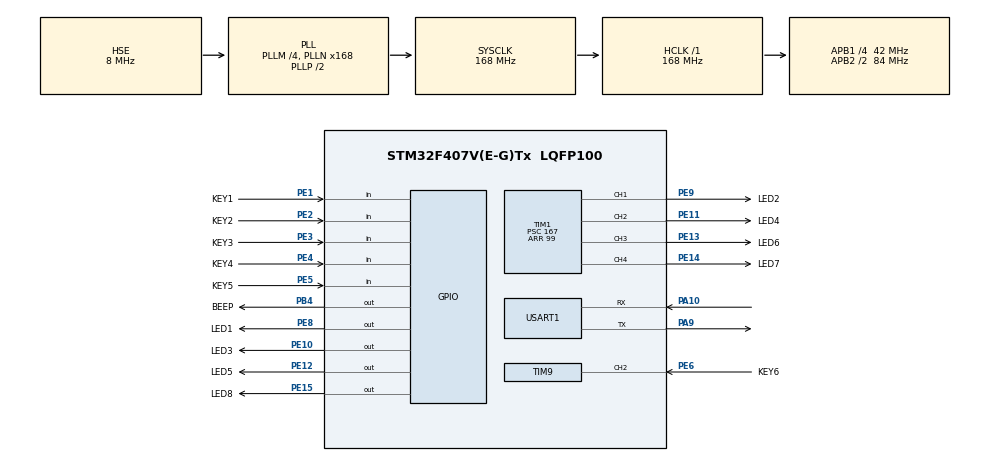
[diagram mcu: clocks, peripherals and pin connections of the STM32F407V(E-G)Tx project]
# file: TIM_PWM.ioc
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FREERTOS.HEAP_NUMBER=3
FREERTOS.Tasks01=LedTask,24,256,StartLedTask,Default,NULL,Dynamic,NULL,NULL;KeyTask,24,256,StartKeyTask,Default,NULL,Dynamic,NULL,NULL;BeepTask,24,256,StartBeepTask,Default,NULL,Dynamic,NULL,NULL;CaptureTask,24,256,StartCaptureTask,Default,NULL,Dynamic,NULL,NULL
FREERTOS.configENABLE_FPU=0
FREERTOS.configUSE_NEWLIB_REENTRANT=0
FREERTOS.copyHeapFile=1
Mcu.Family=STM32F4
Mcu.Name=STM32F407V(E-G)Tx
Mcu.Package=LQFP100
NVIC.PriorityGroup=NVIC_PRIORITYGROUP_4
NVIC.TIM1_BRK_TIM9_IRQn=true\:5\:0\:false\:false\:true\:true\:true\:true
NVIC.TIM2_IRQn=true\:5\:0\:false\:false\:true\:true\:true\:true
NVIC.TIM3_IRQn=true\:5\:0\:false\:false\:true\:true\:true\:true
NVIC.TIM4_IRQn=true\:5\:0\:false\:false\:true\:true\:true\:true
NVIC.TIM8_TRG_COM_TIM14_IRQn=true\:0\:0\:false\:false\:true\:false\:false\:true
NVIC.TimeBase=TIM8_TRG_COM_TIM14_IRQn
NVIC.TimeBaseIP=TIM14
PA10.Mode=Asynchronous
PA10.Signal=USART1_RX
PA13.Mode=Serial_Wire
PA13.Signal=SYS_JTMS-SWDIO
PA14.Mode=Serial_Wire
PA14.Signal=SYS_JTCK-SWCLK
PA9.Mode=Asynchronous
PA9.Signal=USART1_TX
PB4.GPIO_Label=BEEP
PB4.Signal=GPIO_Output
PE1.GPIO_Label=KEY1
PE1.GPIO_PuPd=GPIO_PULLUP
PE1.Signal=GPIO_Input
PE10.GPIO_Label=LED3
PE10.PinState=GPIO_PIN_SET
PE10.Signal=GPIO_Output
PE11.GPIO_Label=LED4
PE11.Signal=S_TIM1_CH2
PE12.GPIO_Label=LED5
PE12.PinState=GPIO_PIN_SET
PE12.Signal=GPIO_Output
PE13.GPIO_Label=LED6
PE13.Signal=S_TIM1_CH3
PE14.GPIO_Label=LED7
PE14.Signal=S_TIM1_CH4
PE15.GPIO_Label=LED8
PE15.PinState=GPIO_PIN_SET
PE15.Signal=GPIO_Output
PE2.GPIO_Label=KEY2
PE2.GPIO_PuPd=GPIO_PULLUP
PE2.Signal=GPIO_Input
PE3.GPIO_Label=KEY3
PE3.GPIO_PuPd=GPIO_PULLUP
PE3.Signal=GPIO_Input
PE4.GPIO_Label=KEY4
PE4.GPIO_PuPd=GPIO_PULLUP
PE4.Signal=GPIO_Input
PE5.GPIO_Label=KEY5
PE5.GPIO_PuPd=GPIO_PULLDOWN
PE5.Signal=GPIO_Input
PE6.GPIO_Label=KEY6
PE6.GPIO_PuPd=GPIO_PULLDOWN
PE6.Signal=S_TIM9_CH2
PE8.GPIO_Label=LED1
PE8.PinState=GPIO_PIN_SET
PE8.Signal=GPIO_Output
PE9.GPIO_Label=LED2
PE9.Signal=S_TIM1_CH1
PH0-OSC_IN.Mode=HSE-External-Oscillator
PH0-OSC_IN.Signal=RCC_OSC_IN
PH1-OSC_OUT.Mode=HSE-External-Oscillator
PH1-OSC_OUT.Signal=RCC_OSC_OUT
ProjectManager.HeapSize=0x200
ProjectManager.StackSize=0x400
ProjectManager.TargetToolchain=SW4STM32
RCC.48MHZClocksFreq_Value=84000000
RCC.AHBFreq_Value=168000000
RCC.APB1CLKDivider=RCC_HCLK_DIV4
RCC.APB1Freq_Value=42000000
RCC.APB1TimFreq_Value=84000000
RCC.APB2CLKDivider=RCC_HCLK_DIV2
RCC.APB2Freq_Value=84000000
RCC.APB2TimFreq_Value=168000000
RCC.CortexFreq_Value=168000000
RCC.HCLKFreq_Value=168000000
RCC.HSE_VALUE=8000000
RCC.HSI_VALUE=16000000
RCC.LSE_VALUE=32768
RCC.PLLM=4
RCC.PLLN=168
RCC.PLLSourceVirtual=RCC_PLLSOURCE_HSE
RCC.SYSCLKFreq_VALUE=168000000
RCC.SYSCLKSource=RCC_SYSCLKSOURCE_PLLCLK
RCC.VCOOutputFreq_Value=336000000
SH.S_TIM1_CH1.0=TIM1_CH1,PWM Generation1 CH1
SH.S_TIM1_CH2.0=TIM1_CH2,PWM Generation2 CH2
SH.S_TIM1_CH3.0=TIM1_CH3,PWM Generation3 CH3
SH.S_TIM1_CH4.0=TIM1_CH4,PWM Generation4 CH4
SH.S_TIM9_CH2.0=TIM9_CH2,Input_Capture2_from_TI2
TIM1.Channel-PWM\ Generation1\ CH1=TIM_CHANNEL_1
TIM1.Channel-PWM\ Generation2\ CH2=TIM_CHANNEL_2
TIM1.Channel-PWM\ Generation3\ CH3=TIM_CHANNEL_3
TIM1.Channel-PWM\ Generation4\ CH4=TIM_CHANNEL_4
TIM1.OCIdleState_1=TIM_OCIDLESTATE_SET
TIM1.OCIdleState_2=TIM_OCIDLESTATE_SET
TIM1.OCIdleState_3=TIM_OCIDLESTATE_SET
TIM1.OCIdleState_4=TIM_OCIDLESTATE_SET
TIM1.OCPolarity_1=TIM_OCPOLARITY_LOW
TIM1.OCPolarity_2=TIM_OCPOLARITY_LOW
TIM1.OCPolarity_3=TIM_OCPOLARITY_LOW
TIM1.OCPolarity_4=TIM_OCPOLARITY_LOW
TIM1.Period=99
TIM1.Prescaler=167
TIM2.Period=9999
TIM2.Prescaler=8399
TIM3.Period=1
TIM3.Prescaler=41
TIM4.Period=99
TIM4.Prescaler=83
TIM9.Channel-Input_Capture2_from_TI2=TIM_CHANNEL_2
TIM9.ICFilter_CH2=8
TIM9.Prescaler=16799
USART1.VirtualMode=VM_ASYNC
VP_FREERTOS_VS_CMSIS_V2.Mode=CMSIS_V2
VP_SYS_VS_tim14.Mode=TIM14
VP_TIM1_VS_ClockSourceINT.Mode=Internal
VP_TIM2_VS_ClockSourceINT.Mode=Internal
VP_TIM3_VS_ClockSourceINT.Mode=Internal
VP_TIM4_VS_ClockSourceINT.Mode=Internal
VP_TIM9_VS_ClockSourceINT.Mode=Internal
board=custom

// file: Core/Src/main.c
/* USER CODE BEGIN Header */
/**
  ******************************************************************************
  * @file           : main.c
  * @brief          : Main program body
  ******************************************************************************
  * @attention
  *
  * <h2><center>&copy; Copyright (c) 2020 STMicroelectronics.
  * All rights reserved.</center></h2>
  *
  * This software component is licensed by ST under Ultimate Liberty license
  * SLA0044, the "License"; You may not use this file except in compliance with
  * the License. You may obtain a copy of the License at:
  *                             www.st.com/SLA0044
  *
  ******************************************************************************
  */
/* USER CODE END Header */
#include "main.h"
#include "cmsis_os.h"
#include "tim.h"
#include "usart.h"
#include "gpio.h"

/* USER CODE BEGIN Includes */
#include <stdio.h>
/* USER CODE END Includes */

/* USER CODE BEGIN PD */
#define TIM_CNT_MAX 100
/* USER CODE END PD */

/* USER CODE BEGIN PV */
extern uint32_t capture_buf[3];
extern int key6_cnt;

int tim_cnt = 0;
int tim_compare = 0;
/* USER CODE END PV */

void SystemClock_Config(void);
void MX_FREERTOS_Init(void);

int main(void)
{

  /* MCU Configuration--------------------------------------------------------*/

  /* Reset of all peripherals, Initializes the Flash interface and the Systick. */
  HAL_Init();

  /* Configure the system clock */
  SystemClock_Config();

  /* Initialize all configured peripherals */
  MX_GPIO_Init();
  MX_USART1_UART_Init();
  MX_TIM4_Init();
  MX_TIM1_Init();
  MX_TIM9_Init();
  MX_TIM2_Init();
  MX_TIM3_Init();

  /* Init scheduler */
  osKernelInitialize();  /* Call init function for freertos objects (in freertos.c) */
  MX_FREERTOS_Init();
  /* Start scheduler */
  osKernelStart();

  /* We should never get here as control is now taken by the scheduler */
  /* Infinite loop */
  while (1)
  {

  }
}

void SystemClock_Config(void)
{
  RCC_OscInitTypeDef RCC_OscInitStruct = {0};
  RCC_ClkInitTypeDef RCC_ClkInitStruct = {0};

  /** Configure the main internal regulator output voltage
  */
  __HAL_RCC_PWR_CLK_ENABLE();
  __HAL_PWR_VOLTAGESCALING_CONFIG(PWR_REGULATOR_VOLTAGE_SCALE1);
  /** Initializes the RCC Oscillators according to the specified parameters
  * in the RCC_OscInitTypeDef structure.
  */
  RCC_OscInitStruct.OscillatorType = RCC_OSCILLATORTYPE_HSE;
  RCC_OscInitStruct.HSEState = RCC_HSE_ON;
  RCC_OscInitStruct.PLL.PLLState = RCC_PLL_ON;
  RCC_OscInitStruct.PLL.PLLSource = RCC_PLLSOURCE_HSE;
  RCC_OscInitStruct.PLL.PLLM = 4;
  RCC_OscInitStruct.PLL.PLLN = 168;
  RCC_OscInitStruct.PLL.PLLP = RCC_PLLP_DIV2;
  RCC_OscInitStruct.PLL.PLLQ = 4;
  if (HAL_RCC_OscConfig(&RCC_OscInitStruct) != HAL_OK)
  {
    Error_Handler();
  }
  /** Initializes the CPU, AHB and APB buses clocks
  */
  RCC_ClkInitStruct.ClockType = RCC_CLOCKTYPE_HCLK|RCC_CLOCKTYPE_SYSCLK
                              |RCC_CLOCKTYPE_PCLK1|RCC_CLOCKTYPE_PCLK2;
  RCC_ClkInitStruct.SYSCLKSource = RCC_SYSCLKSOURCE_PLLCLK;
  RCC_ClkInitStruct.AHBCLKDivider = RCC_SYSCLK_DIV1;
  RCC_ClkInitStruct.APB1CLKDivider = RCC_HCLK_DIV4;
  RCC_ClkInitStruct.APB2CLKDivider = RCC_HCLK_DIV2;

  if (HAL_RCC_ClockConfig(&RCC_ClkInitStruct, FLASH_LATENCY_5) != HAL_OK)
  {
    Error_Handler();
  }
}

 /**
  * @brief  Period elapsed callback in non blocking mode
  * @note   This function is called  when TIM14 interrupt took place, inside
  * HAL_TIM_IRQHandler(). It makes a direct call to HAL_IncTick() to increment
  * a global variable "uwTick" used as application time base.
  * @param  htim : TIM handle
  * @retval None
  */
void HAL_TIM_PeriodElapsedCallback(TIM_HandleTypeDef *htim)
{
  if (htim->Instance == TIM14) {
    HAL_IncTick();
  }
  /* USER CODE BEGIN Callback 1 */
    if (htim->Instance == TIM2){
        printf("K6 CPS = %d\r\n", key6_cnt);
        key6_cnt = 0;
    }
    if (htim->Instance == TIM3){
        if (tim_cnt < tim_compare && tim_cnt == 0){
            HAL_GPIO_WritePin(LED1_GPIO_Port, LED1_Pin, GPIO_PIN_RESET);
            HAL_GPIO_WritePin(LED2_GPIO_Port, LED2_Pin, GPIO_PIN_RESET);
            HAL_GPIO_WritePin(LED3_GPIO_Port, LED3_Pin, GPIO_PIN_RESET);
            HAL_GPIO_WritePin(LED4_GPIO_Port, LED4_Pin, GPIO_PIN_RESET);
            HAL_GPIO_WritePin(LED5_GPIO_Port, LED5_Pin, GPIO_PIN_RESET);
            HAL_GPIO_WritePin(LED6_GPIO_Port, LED6_Pin, GPIO_PIN_RESET);
            HAL_GPIO_WritePin(LED7_GPIO_Port, LED7_Pin, GPIO_PIN_RESET);
            HAL_GPIO_WritePin(LED8_GPIO_Port, LED8_Pin, GPIO_PIN_RESET);
        }
        else if (tim_cnt == tim_compare){
            HAL_GPIO_WritePin(LED1_GPIO_Port, LED1_Pin, GPIO_PIN_SET);
            HAL_GPIO_WritePin(LED2_GPIO_Port, LED2_Pin, GPIO_PIN_SET);
            HAL_GPIO_WritePin(LED3_GPIO_Port, LED3_Pin, GPIO_PIN_SET);
            HAL_GPIO_WritePin(LED4_GPIO_Port, LED4_Pin, GPIO_PIN_SET);
            HAL_GPIO_WritePin(LED5_GPIO_Port, LED5_Pin, GPIO_PIN_SET);
            HAL_GPIO_WritePin(LED6_GPIO_Port, LED6_Pin, GPIO_PIN_SET);
            HAL_GPIO_WritePin(LED7_GPIO_Port, LED7_Pin, GPIO_PIN_SET);
            HAL_GPIO_WritePin(LED8_GPIO_Port, LED8_Pin, GPIO_PIN_SET);
        }
        if(tim_cnt < TIM_CNT_MAX){
            tim_cnt++;
        }
        else{
            tim_cnt = 0;
        }
    }
    if (htim->Instance == TIM4){
      HAL_GPIO_TogglePin(BEEP_GPIO_Port, BEEP_Pin);
    }
    if (htim->Instance == TIM9){
        capture_buf[2] += 1;//溢出计数
    }
  /* USER CODE END Callback 1 */
}

void Error_Handler(void)
{
  __disable_irq();
  while (1)
  {
  }
}

/************************ (C) COPYRIGHT STMicroelectronics *****END OF FILE****/

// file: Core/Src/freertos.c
/* USER CODE BEGIN Header */
/**
  ******************************************************************************
  * File Name          : freertos.c
  * Description        : Code for freertos applications
  ******************************************************************************
  * @attention
  *
  * <h2><center>&copy; Copyright (c) 2020 STMicroelectronics.
  * All rights reserved.</center></h2>
  *
  * This software component is licensed by ST under Ultimate Liberty license
  * SLA0044, the "License"; You may not use this file except in compliance with
  * the License. You may obtain a copy of the License at:
  *                             www.st.com/SLA0044
  *
  ******************************************************************************
  */
/* USER CODE END Header */

#include "FreeRTOS.h"
#include "task.h"
#include "main.h"
#include "cmsis_os.h"

/* USER CODE BEGIN Includes */
#include <stdio.h>
#include <stdbool.h>
#include "tim.h"
/* USER CODE END Includes */

/* USER CODE BEGIN Variables */
uint8_t beep_switch = 0;

bool led_breathe = false;
int light = 0;

uint32_t capture_buf[3] = {0};  //存放计数值
uint8_t capture_cnt = 0;        //状态标志位
uint32_t high_time;             //高电平时间
int key6_cnt = 0;               //按键动作次数

extern int tim_compare;
/* USER CODE END Variables */
/* Definitions for LedTask */
osThreadId_t LedTaskHandle;
const osThreadAttr_t LedTask_attributes = {
  .name = "LedTask",
  .priority = (osPriority_t) osPriorityNormal,
  .stack_size = 256 * 4
};
/* Definitions for KeyTask */
osThreadId_t KeyTaskHandle;
const osThreadAttr_t KeyTask_attributes = {
  .name = "KeyTask",
  .priority = (osPriority_t) osPriorityNormal,
  .stack_size = 256 * 4
};
/* Definitions for BeepTask */
osThreadId_t BeepTaskHandle;
const osThreadAttr_t BeepTask_attributes = {
  .name = "BeepTask",
  .priority = (osPriority_t) osPriorityNormal,
  .stack_size = 256 * 4
};
/* Definitions for CaptureTask */
osThreadId_t CaptureTaskHandle;
const osThreadAttr_t CaptureTask_attributes = {
  .name = "CaptureTask",
  .priority = (osPriority_t) osPriorityNormal,
  .stack_size = 256 * 4
};

void StartLedTask(void *argument);
void StartKeyTask(void *argument);
void StartBeepTask(void *argument);
void StartCaptureTask(void *argument);

void MX_FREERTOS_Init(void); /* (MISRA C 2004 rule 8.1) */

void MX_FREERTOS_Init(void) {

  /* Create the thread(s) */
  /* creation of LedTask */
  LedTaskHandle = osThreadNew(StartLedTask, NULL, &LedTask_attributes);

  /* creation of KeyTask */
  KeyTaskHandle = osThreadNew(StartKeyTask, NULL, &KeyTask_attributes);

  /* creation of BeepTask */
  BeepTaskHandle = osThreadNew(StartBeepTask, NULL, &BeepTask_attributes);

  /* creation of CaptureTask */
  CaptureTaskHandle = osThreadNew(StartCaptureTask, NULL, &CaptureTask_attributes);

}

void StartLedTask(void *argument)
{
  /* USER CODE BEGIN StartLedTask */
#if led_use_pwm
    HAL_TIM_PWM_Start(&htim1, TIM_CHANNEL_1);
    HAL_TIM_PWM_Start(&htim1, TIM_CHANNEL_2);
    HAL_TIM_PWM_Start(&htim1, TIM_CHANNEL_3);
    HAL_TIM_PWM_Start(&htim1, TIM_CHANNEL_4);
#else
    HAL_TIM_Base_Start_IT(&htim3);
#endif
  /* Infinite loop */
  for(;;)
  {
      if(led_breathe == true){
          if (light > 100){
#if led_use_pwm
              __HAL_TIM_SET_COMPARE(&htim1, TIM_CHANNEL_1, 200 - light);
              __HAL_TIM_SET_COMPARE(&htim1, TIM_CHANNEL_2, 200 - light);
              __HAL_TIM_SET_COMPARE(&htim1, TIM_CHANNEL_3, 200 - light);
              __HAL_TIM_SET_COMPARE(&htim1, TIM_CHANNEL_4, 200 - light);
#else
              tim_compare = 200 - light;
#endif
          }
          else {
#if led_use_pwm
              __HAL_TIM_SET_COMPARE(&htim1, TIM_CHANNEL_1, light);
              __HAL_TIM_SET_COMPARE(&htim1, TIM_CHANNEL_2, light);
              __HAL_TIM_SET_COMPARE(&htim1, TIM_CHANNEL_3, light);
              __HAL_TIM_SET_COMPARE(&htim1, TIM_CHANNEL_4, light);
#else
              tim_compare = light;
#endif
          }
          light++;
          if(light >= 200){
              light = 0;
          }
      }
      osDelay(5);
  }
  /* USER CODE END StartLedTask */
}

void StartKeyTask(void *argument)
{
  /* USER CODE BEGIN StartKeyTask */
    uint8_t key_state;
    uint32_t beep_tone = 99;
  /* Infinite loop */
  for(;;)
  {
      //扫描按键
      key_state = 0;
      if (HAL_GPIO_ReadPin(KEY1_GPIO_Port,KEY1_Pin)==GPIO_PIN_RESET){
          osDelay(10);
          if(HAL_GPIO_ReadPin(KEY1_GPIO_Port,KEY1_Pin)==GPIO_PIN_RESET)
          {
              key_state = 1;
          }
          while(HAL_GPIO_ReadPin(KEY1_GPIO_Port,KEY1_Pin)==GPIO_PIN_RESET)
          {
              osDelay(1);
          }
      }
      else if (HAL_GPIO_ReadPin(KEY2_GPIO_Port,KEY2_Pin)==GPIO_PIN_RESET){
          osDelay(10);
          if(HAL_GPIO_ReadPin(KEY2_GPIO_Port,KEY2_Pin)==GPIO_PIN_RESET)
          {
              key_state = 2;
          }
          while(HAL_GPIO_ReadPin(KEY2_GPIO_Port,KEY2_Pin)==GPIO_PIN_RESET)
          {
              osDelay(1);
          }
      }
      else if (HAL_GPIO_ReadPin(KEY3_GPIO_Port,KEY3_Pin)==GPIO_PIN_RESET){
          osDelay(10);
          if(HAL_GPIO_ReadPin(KEY3_GPIO_Port,KEY3_Pin)==GPIO_PIN_RESET)
          {
              key_state = 3;
          }
          while(HAL_GPIO_ReadPin(KEY3_GPIO_Port,KEY3_Pin)==GPIO_PIN_RESET)
          {
              osDelay(1);
          }
      }
      else if (HAL_GPIO_ReadPin(KEY4_GPIO_Port,KEY4_Pin)==GPIO_PIN_RESET){
          osDelay(10);
          if(HAL_GPIO_ReadPin(KEY4_GPIO_Port,KEY4_Pin)==GPIO_PIN_RESET)
          {
              key_state = 4;
          }
          while(HAL_GPIO_ReadPin(KEY4_GPIO_Port,KEY4_Pin)==GPIO_PIN_RESET)
          {
              osDelay(1);
          }
      }
      else if (HAL_GPIO_ReadPin(KEY5_GPIO_Port,KEY5_Pin)==GPIO_PIN_SET){
          osDelay(10);
          if(HAL_GPIO_ReadPin(KEY5_GPIO_Port,KEY5_Pin)==GPIO_PIN_SET)
          {
              key_state = 5;
          }
          while(HAL_GPIO_ReadPin(KEY5_GPIO_Port,KEY5_Pin)==GPIO_PIN_SET)
          {
              osDelay(1);
          }
      }
      else if (HAL_GPIO_ReadPin(KEY6_GPIO_Port,KEY6_Pin)==GPIO_PIN_SET){
          osDelay(10);
          if(HAL_GPIO_ReadPin(KEY6_GPIO_Port,KEY6_Pin)==GPIO_PIN_SET)
          {
              key_state = 6;
          }
          while(HAL_GPIO_ReadPin(KEY6_GPIO_Port,KEY6_Pin)==GPIO_PIN_SET)
          {
              osDelay(1);
          }
      }
      //按键触发控制
      switch (key_state) {
          case 1:
              beep_tone += 10;
              printf("%lu\r\n", beep_tone);
              __HAL_TIM_SET_AUTORELOAD(&htim4, beep_tone);
              break;

          case 2:
              beep_switch = 2;
              break;

          case 3:
              beep_switch = 1;
              break;

          case 4:
              if (beep_tone > 0){
                  beep_tone -= 10;
              }
              printf("%lu\r\n", beep_tone);
              __HAL_TIM_SET_AUTORELOAD(&htim4, beep_tone);
              break;

          case 5:
              if (led_breathe == true){
                  led_breathe = false;
              }
              else{
                  led_breathe = true;
              }
              break;

          case 6:
              if(led_breathe == false){
                  if(light < 80){
                      light += 20;
                  }
                  else{
                      light = 0;
                  }
#if led_use_pwm
                  __HAL_TIM_SET_COMPARE(&htim1, TIM_CHANNEL_1, light);
                  __HAL_TIM_SET_COMPARE(&htim1, TIM_CHANNEL_2, light);
                  __HAL_TIM_SET_COMPARE(&htim1, TIM_CHANNEL_3, light);
                  __HAL_TIM_SET_COMPARE(&htim1, TIM_CHANNEL_4, light);
#else
                  tim_compare = light;
#endif
              }
              break;

          default:
              break;
      }

      osDelay(1);
  }
  /* USER CODE END StartKeyTask */
}

void StartBeepTask(void *argument)
{
  /* USER CODE BEGIN StartBeepTask */
  /* Infinite loop */
  for(;;)
  {
      if(beep_switch == 1){//启动
          HAL_TIM_Base_Start_IT(&htim4);
          beep_switch = 0;
      }
      else if(beep_switch == 2){//停止
          HAL_TIM_Base_Stop_IT(&htim4);
          beep_switch = 0;
      }
      else if(beep_switch == 3){//叫一声
          HAL_TIM_Base_Start_IT(&htim4);
          osDelay(100);
          HAL_TIM_Base_Stop_IT(&htim4);
          beep_switch = 0;
      }
      osDelay(1);
  }
  /* USER CODE END StartBeepTask */
}

void StartCaptureTask(void *argument)
{
  /* USER CODE BEGIN StartCaptureTask */
  uint32_t tick = 0;

  HAL_TIM_Base_Start_IT(&htim2);
  /* Infinite loop */
  for(;;)
  {
      if(osKernelGetTickCount() >= tick){
          tick = osKernelGetTickCount() + 10;

          switch (capture_cnt) {
              case 0:
                  capture_cnt++;
                  __HAL_TIM_SET_CAPTUREPOLARITY(&htim9, TIM_CHANNEL_2, TIM_INPUTCHANNELPOLARITY_RISING);//设置上升沿触发
                  HAL_TIM_Base_Start_IT(&htim9);//启动定时器并打开中断
                  HAL_TIM_IC_Start_IT(&htim9, TIM_CHANNEL_2);//启动输入捕获
                  break;

              case 3:
                  high_time = capture_buf[2] * 65536 + capture_buf[1] - capture_buf[0];
                  printf("K6 press time:%.1fms\r\n", high_time / 10.0f);
                  if (high_time > 200){
                      beep_switch = 3;
                      key6_cnt++;
                  }
                  capture_cnt = 0;
                  tick = osKernelGetTickCount() + 100;
                  break;

              default:
                  break;
          }
      }
      osDelay(1);
  }
  /* USER CODE END StartCaptureTask */
}

/************************ (C) COPYRIGHT STMicroelectronics *****END OF FILE****/
